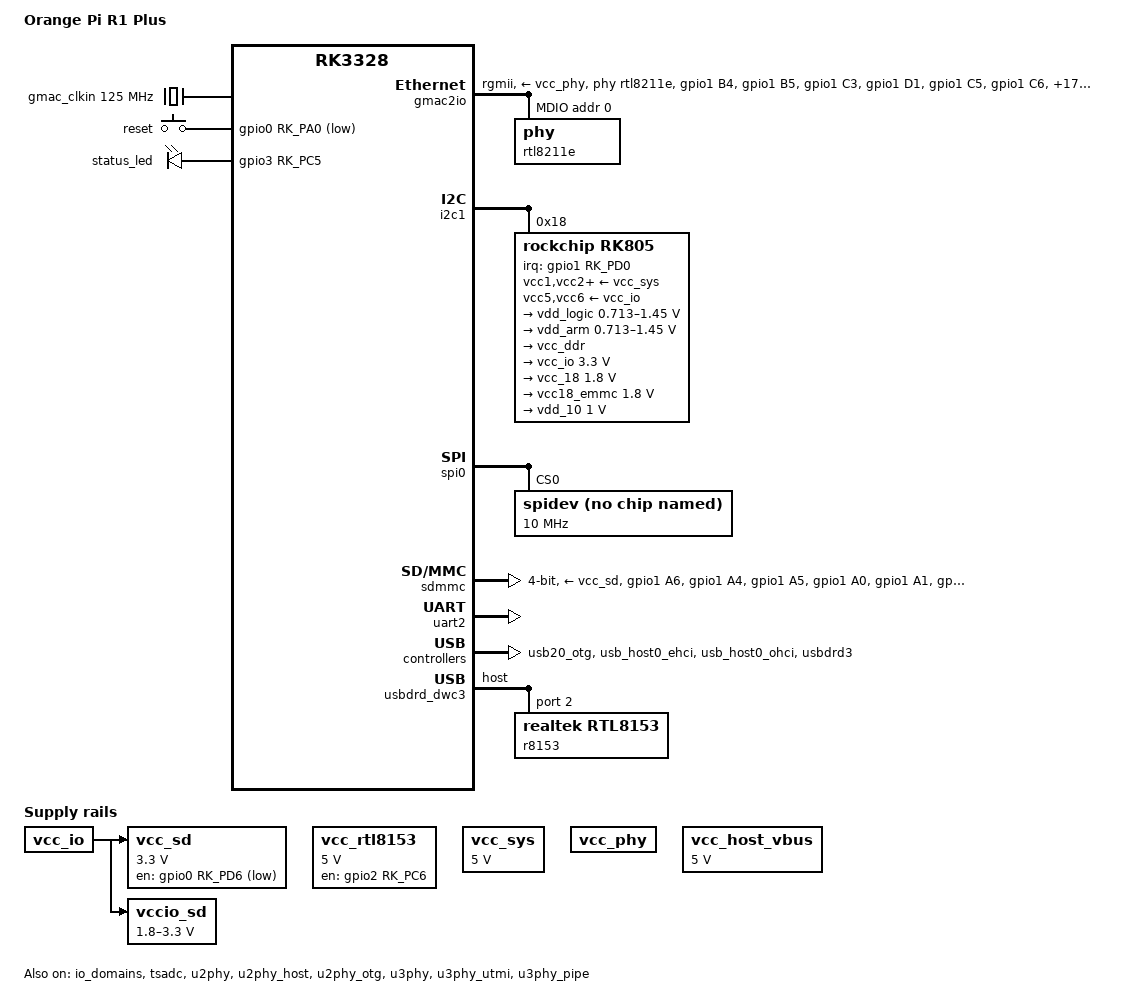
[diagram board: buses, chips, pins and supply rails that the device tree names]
// SPDX-License-Identifier: (GPL-2.0+ OR MIT)
/*
 * Copyright (c) 2020 David Bauer <mail@david-bauer.net>
 */

/dts-v1/;

#include <dt-bindings/input/input.h>
#include <dt-bindings/gpio/gpio.h>
#include "rk3328.dtsi"

/ {
	model = "Orange Pi R1 Plus";
	compatible = "xunlong,orangepi-r1plus", "rockchip,rk3328";

	aliases {
		ethernet1 = &r8153;
	};

	chosen {
		stdout-path = "serial2:1500000n8";
	};

	gmac_clkin: external-gmac-clock {
		compatible = "fixed-clock";
		clock-frequency = <125000000>;
		clock-output-names = "gmac_clkin";
		#clock-cells = <0>;
	};

	mach: board {
		compatible = "orangepi,board";
		machine = "ORANGEPI-R1PLUS";
		hwrev = <2>;
		model = "OrangePi R1PLUS";
		nvmem-cells = <&efuse_id>, <&efuse_cpu_version>;
		nvmem-cell-names = "id", "cpu-version";
	};

	keys {
		compatible = "gpio-keys";
                #address-cells = <1>;
                #size-cells = <0>;
                autorepeat;

		pinctrl-names = "default";
		pinctrl-0 = <&reset_button_pin>;

		button@0 {
			label = "reset";
			gpios = <&gpio0 RK_PA0 GPIO_ACTIVE_LOW>;
			linux,code = <KEY_RESTART>;
			debounce-interval = <100>;
		};
	};

	vcc_rtl8153: vcc-rtl8153-regulator {
		compatible = "regulator-fixed";
		gpio = <&gpio2 RK_PC6 GPIO_ACTIVE_HIGH>;
		pinctrl-names = "default";
		pinctrl-0 = <&rtl8153_en_drv>;
		regulator-always-on;
		regulator-name = "vcc_rtl8153";
		regulator-min-microvolt = <5000000>;
		regulator-max-microvolt = <5000000>;
		off-on-delay-us = <5000>;
		enable-active-high;
	};

	leds: gpio-leds {
		compatible = "gpio-leds";
		pinctrl-0 = <&leds_gpio>;
		pinctrl-names = "default";

                led@1 {
                        gpios = <&gpio3 RK_PC5 GPIO_ACTIVE_HIGH>;
                        label = "status_led";
                        linux,default-trigger = "heartbeat";
                        linux,default-trigger-delay-ms = <0>;
                };
	};

	vcc_sd: sdmmc-regulator {
		compatible = "regulator-fixed";
		gpio = <&gpio0 RK_PD6 GPIO_ACTIVE_LOW>;
		pinctrl-0 = <&sdmmc0m1_pin>;
		pinctrl-names = "default";
		regulator-name = "vcc_sd";
		regulator-boot-on;
		regulator-min-microvolt = <3300000>;
		regulator-max-microvolt = <3300000>;
		vin-supply = <&vcc_io>;
	};

	vccio_sd: sdmmcio-regulator {
		compatible = "regulator-gpio";
		enable-active-high;
		gpios = <&gpio1 RK_PD4 GPIO_ACTIVE_HIGH>;
		pinctrl-0 = <&sdio_vcc_pin>;
		pinctrl-names = "default";
		regulator-name = "vccio_sd";
		regulator-always-on;
		regulator-min-microvolt = <1800000>;
		regulator-max-microvolt = <3300000>;
		regulator-settling-time-us = <5000>;
		regulator-type = "voltage";
		startup-delay-us = <2000>;
		states = <1800000 0x1
			  3300000 0x0>;
		vin-supply = <&vcc_io>;
	};

	vcc_sys: vcc-sys {
		compatible = "regulator-fixed";
		regulator-name = "vcc_sys";
		regulator-always-on;
		regulator-boot-on;
		regulator-min-microvolt = <5000000>;
		regulator-max-microvolt = <5000000>;
	};

        vcc_phy: vcc-phy-regulator {
                compatible = "regulator-fixed";
                regulator-name = "vcc_phy";
                regulator-always-on;
                regulator-boot-on;
        };

        vcc_host_vbus: host-vbus-regulator {
                compatible = "regulator-fixed";
                regulator-name = "vcc_host_vbus";
                regulator-always-on;
                regulator-boot-on;
                regulator-min-microvolt = <5000000>;
                regulator-max-microvolt = <5000000>;
        };
};

&cpu0 {
	cpu-supply = <&vdd_arm>;
};

&cpu1 {
	cpu-supply = <&vdd_arm>;
};

&cpu2 {
	cpu-supply = <&vdd_arm>;
};

&cpu3 {
	cpu-supply = <&vdd_arm>;
};

&display_subsystem {
	status = "disabled";
};

&gmac2io {
	assigned-clocks = <&cru SCLK_MAC2IO>, <&cru SCLK_MAC2IO_EXT>;
	assigned-clock-parents = <&gmac_clkin>, <&gmac_clkin>;
	clock_in_out = "input";
	pinctrl-names = "default";
	pinctrl-0 = <&rgmiim1_pins>;
	phy-handle = <&rtl8211e>;
	phy-mode = "rgmii";
	phy-supply = <&vcc_phy>;
	snps,reset-active-low;
	snps,reset-delays-us = <0 10000 30000>;
	snps,reset-gpio = <&gpio1 RK_PC2 GPIO_ACTIVE_LOW>;
	snps,aal;
	snps,rxpbl = <0x4>;
	snps,txpbl = <0x4>;
	tx_delay = <0x24>;
	rx_delay = <0x18>;
	status = "okay";

	mdio {
		compatible = "snps,dwmac-mdio";
		#address-cells = <1>;
		#size-cells = <0>;

		rtl8211e: phy@0 {
			reg = <0>;
			reset-assert-us = <10000>;
			reset-deassert-us = <30000>;
			/* reset-gpios = <&gpio1 RK_PC2 GPIO_ACTIVE_LOW>; */
		};
	};
};

&i2c1 {
	status = "okay";

	rk805: pmic@18 {
		compatible = "rockchip,rk805";
		reg = <0x18>;
		interrupt-parent = <&gpio1>;
		interrupts = <RK_PD0 IRQ_TYPE_LEVEL_LOW>;
		#clock-cells = <1>;
		clock-output-names = "xin32k", "rk805-clkout2";
		gpio-controller;
		#gpio-cells = <2>;
		pinctrl-0 = <&pmic_int_l>;
		pinctrl-names = "default";
		rockchip,system-power-controller;
		wakeup-source;

		vcc1-supply = <&vcc_sys>;
		vcc2-supply = <&vcc_sys>;
		vcc3-supply = <&vcc_sys>;
		vcc4-supply = <&vcc_sys>;
		vcc5-supply = <&vcc_io>;
		vcc6-supply = <&vcc_io>;

		regulators {
			vdd_logic: DCDC_REG1 {
				regulator-name = "vdd_logic";
				regulator-init-microvolt = <1075000>;
				regulator-min-microvolt = <712500>;
				regulator-max-microvolt = <1450000>;
				regulator-always-on;
				regulator-boot-on;

				regulator-state-mem {
					regulator-on-in-suspend;
					regulator-suspend-microvolt = <1000000>;
				};
			};

			vdd_arm: DCDC_REG2 {
				regulator-name = "vdd_arm";
				regulator-always-on;
				regulator-boot-on;
				regulator-init-microvolt = <1225000>;
				regulator-min-microvolt = <712500>;
				regulator-max-microvolt = <1450000>;

				regulator-state-mem {
					regulator-on-in-suspend;
					regulator-suspend-microvolt = <950000>;
				};
			};

			vcc_ddr: DCDC_REG3 {
				regulator-name = "vcc_ddr";
				regulator-always-on;
				regulator-boot-on;

				regulator-state-mem {
					regulator-on-in-suspend;
				};
			};

			vcc_io: DCDC_REG4 {
				regulator-name = "vcc_io";
				regulator-always-on;
				regulator-boot-on;
				regulator-min-microvolt = <3300000>;
				regulator-max-microvolt = <3300000>;

				regulator-state-mem {
					regulator-on-in-suspend;
					regulator-suspend-microvolt = <3300000>;
				};
			};

			vcc_18: LDO_REG1 {
				regulator-name = "vcc_18";
				regulator-always-on;
				regulator-boot-on;
				regulator-min-microvolt = <1800000>;
				regulator-max-microvolt = <1800000>;

				regulator-state-mem {
					regulator-on-in-suspend;
					regulator-suspend-microvolt = <1800000>;
				};
			};

			vcc18_emmc: LDO_REG2 {
				regulator-name = "vcc18_emmc";
				regulator-always-on;
				regulator-boot-on;
				regulator-min-microvolt = <1800000>;
				regulator-max-microvolt = <1800000>;

				regulator-state-mem {
					regulator-on-in-suspend;
					regulator-suspend-microvolt = <1800000>;
				};
			};

			vdd_10: LDO_REG3 {
				regulator-name = "vdd_10";
				regulator-always-on;
				regulator-boot-on;
				regulator-min-microvolt = <1000000>;
				regulator-max-microvolt = <1000000>;

				regulator-state-mem {
					regulator-on-in-suspend;
					regulator-suspend-microvolt = <1000000>;
				};
			};
		};
	};
};

&io_domains {
	status = "okay";

	pmuio-supply = <&vcc_io>;
	vccio1-supply = <&vcc_io>;
	vccio2-supply = <&vcc18_emmc>;
	vccio3-supply = <&vccio_sd>;
	vccio4-supply = <&vcc_io>;
	vccio5-supply = <&vcc_io>;
	vccio6-supply = <&vcc_18>;
};

&pinctrl {
	pmic {
		pmic_int_l: pmic-int-l {
			rockchip,pins = <1 RK_PD0 RK_FUNC_GPIO &pcfg_pull_up>;
		};
	};

	button {
		reset_button_pin: reset-button-pin {
			rockchip,pins = <0 RK_PA0 RK_FUNC_GPIO &pcfg_pull_none>;
		};
	};

/*
	leds {
		lan_led_pin: lan-led-pin {
			rockchip,pins = <2 RK_PB7 RK_FUNC_GPIO &pcfg_pull_none>;
		};

		sys_led_pin: sys-led-pin {
			rockchip,pins = <0 RK_PA2 RK_FUNC_GPIO &pcfg_pull_none>;
		};

		wan_led_pin: wan-led-pin {
			rockchip,pins = <2 RK_PC2 RK_FUNC_GPIO &pcfg_pull_none>;
		};
	};
*/

        sdmmc0 {
                sdmmc0_clk: sdmmc0-clk {
                        rockchip,pins = <1 RK_PA6 1 &pcfg_pull_none_4ma>;
                };

                sdmmc0_cmd: sdmmc0-cmd {
                        rockchip,pins = <1 RK_PA4 1 &pcfg_pull_up_4ma>;
                };

                sdmmc0_dectn: sdmmc0-dectn {
                        rockchip,pins = <1 RK_PA5 1 &pcfg_pull_up_4ma>;
                };

                sdmmc0_bus4: sdmmc0-bus4 {
                        rockchip,pins =
                                <1 RK_PA0 1 &pcfg_pull_up_4ma>,
                                <1 RK_PA1 1 &pcfg_pull_up_4ma>,
                                <1 RK_PA2 1 &pcfg_pull_up_4ma>,
                                <1 RK_PA3 1 &pcfg_pull_up_4ma>;
                };
        };

        gmac-1 {
                rgmiim1_pins: rgmiim1-pins {
                        rockchip,pins =
                                /* mac_txclk */
                                <1 RK_PB4 2 &pcfg_pull_none_4ma>,
                                /* mac_rxclk */
                                <1 RK_PB5 2 &pcfg_pull_none>,
                                /* mac_mdio */
                                <1 RK_PC3 2 &pcfg_pull_none_2ma>,
                                /* mac_txen */
                                <1 RK_PD1 2 &pcfg_pull_none_4ma>,
                                /* mac_clk */
                                <1 RK_PC5 2 &pcfg_pull_none_2ma>,
                                /* mac_rxdv */
                                <1 RK_PC6 2 &pcfg_pull_none>,
                                /* mac_mdc */
                                <1 RK_PC7 2 &pcfg_pull_none_2ma>,
                                /* mac_rxd1 */
                                <1 RK_PB2 2 &pcfg_pull_none>,
                                /* mac_rxd0 */
                                <1 RK_PB3 2 &pcfg_pull_none>,
                                /* mac_txd1 */
                                <1 RK_PB0 2 &pcfg_pull_none_4ma>,
                                /* mac_txd0 */
                                <1 RK_PB1 2 &pcfg_pull_none_4ma>,
                                /* mac_rxd3 */
                                <1 RK_PB6 2 &pcfg_pull_none>,
                                /* mac_rxd2 */
                                <1 RK_PB7 2 &pcfg_pull_none>,
                                /* mac_txd3 */
                                <1 RK_PC0 2 &pcfg_pull_none_4ma>,
                                /* mac_txd2 */
                                <1 RK_PC1 2 &pcfg_pull_none_4ma>,

                                /* mac_txclk */
                                <0 RK_PB0 1 &pcfg_pull_none>,
                                /* mac_txen */
                                <0 RK_PB4 1 &pcfg_pull_none>,
                                /* mac_clk */
                                <0 RK_PD0 1 &pcfg_pull_none>,
                                /* mac_txd1 */
                                <0 RK_PC0 1 &pcfg_pull_none>,
                                /* mac_txd0 */
                                <0 RK_PC1 1 &pcfg_pull_none>,
                                /* mac_txd3 */
                                <0 RK_PC7 1 &pcfg_pull_none>,
                                /* mac_txd2 */
                                <0 RK_PC6 1 &pcfg_pull_none>;
                };
        };

	usb {
		host_vbus_drv: host-vbus-drv {
			rockchip,pins = <0 RK_PA0 RK_FUNC_GPIO &pcfg_pull_none>;
		};

                otg_vbus_drv: otg-vbus-drv {
                        rockchip,pins = <1 RK_PD2 RK_FUNC_GPIO &pcfg_pull_none>;
                };

		rtl8153_en_drv: rtl8153-en-drv {
			rockchip,pins = <2 RK_PC6 RK_FUNC_GPIO &pcfg_pull_none>;
		};
	};

	gpio-leds {
		leds_gpio: leds-gpio {
			rockchip,pins = <3 RK_PC5 RK_FUNC_GPIO &pcfg_pull_none>;
		};
	};
};

&spi0{
	status = "okay";
	max-freq = <48000000>;
	spidev@0 {
		compatible = "rockchip,spidev";
		reg = <0>;
		spi-max-frequency = <10000000>;
		status = "okay";
	};
};

&sdmmc {
	bus-width = <4>;
	cap-mmc-highspeed;
	cap-sd-highspeed;
	disable-wp;
	max-frequency = <150000000>;
//      sd-uhs-sdr50;
//      sd-uhs-sdr104;
	pinctrl-names = "default";
	pinctrl-0 = <&sdmmc0_clk &sdmmc0_cmd &sdmmc0_dectn &sdmmc0_bus4>;
	vmmc-supply = <&vcc_sd>;
        vqmmc-supply = <&vccio_sd>;
	status = "okay";
};

&tsadc {
	status = "okay";
};

&uart2 {
	status = "okay";
};

&u2phy {
	status = "okay";
};

&u2phy_host {
	status = "okay";
};

&u2phy_otg {
	status = "okay";
};

&u3phy {
        vbus-supply = <&vcc_host_vbus>;
        status = "okay";
};

&u3phy_utmi {
        status = "okay";
};

&u3phy_pipe {
        status = "okay";
};

&usb20_otg {
	status = "okay";
};

&usb_host0_ehci {
	status = "okay";
};

&usb_host0_ohci {
	status = "okay";
};

&usbdrd3 {
	status = "okay";
};

&usbdrd_dwc3 {
	status = "okay";
        #address-cells = <1>;
        #size-cells = <0>;
	dr_mode = "host";

	r8153: device@2 {
		compatible = "realtek,rtl8153";
		reg = <2>;

		realtek,led-data = <0x87>;
	};
};
